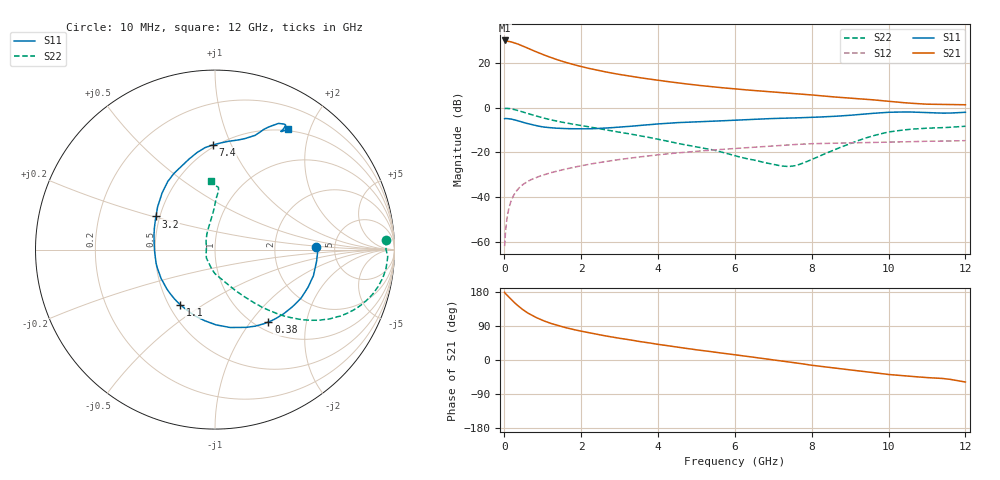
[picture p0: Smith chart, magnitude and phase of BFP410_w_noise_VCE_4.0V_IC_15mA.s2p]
! Infineon Technologies  Discrete & RF Semiconductors
! BFP410
! VCE =  4.0 V,  IC =  15 mA
! Common Emitter S-Parameters:  Nov 2015
# GHz  S  MA  R  50
!  f  S11  S21  S12  S22
! GHz  MAG  ANG  MAG  ANG  MAG  ANG  MAG  ANG
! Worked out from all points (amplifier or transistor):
!   243 points, 10 MHz to 12 GHz, reference 50 ohm
!   highest |S21| = 30.0 dB at 10 MHz (marker M1)
!   |S21| within 3 dB of that: start of sweep to 550.7 MHz
!   unconditionally stable (mu >= 1): start of sweep to 25.22 MHz; 2.115 GHz to end of sweep
!   at 240 MHz: K = 0.28, MSG = 34.2 dB, |S12| = -39.4 dB
!   at 1.84 GHz: K = 0.94, MSG = 22.8 dB, |S12| = -26.6 dB
!   at 12 GHz: K = 1.03, MAG = 7.0 dB, |S12| = -14.8 dB
!   lowest NFmin = 1.50 dB at 900 MHz
!   S11 on the Smith chart (normalised r, x): 10 MHz: 3.59, +0.16; 380 MHz: 1.14, -1.23; 1.1 GHz: 0.57, -0.40; 3.2 GHz: 0.48, +0.21; 7.4 GHz: 0.48, +0.86; 12 GHz: 0.48, +1.68
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0.01  0.5653 1.5  31.72 178.6  0.0008 71.7  0.9519 3.3
0.02  0.5719 -1.8  31.26 176.7  0.0011 58.5  0.9532 0.0
0.05  0.5698 -6.5  30.77 173.4  0.0023 74.5  0.9633 -2.4
0.1  0.5674 -14.8  30.44 168.4  0.0047 76.2  0.9588 -6.3
0.2  0.5506 -29.4  29.16 158.0  0.0091 74.3  0.9311 -12.9
0.3  0.5233 -43.2  27.44 148.2  0.013 71.2  0.8891 -18.7
0.38  0.5011 -53.6  25.87 141.3  0.0158 68.4  0.8506 -22.7
0.5  0.467 -68.1  23.48 131.7  0.0195 65.0  0.7912 -27.9
0.6  0.4422 -79.0  21.54 124.7  0.0221 62.9  0.7441 -31.3
0.7  0.4194 -89.2  19.79 118.9  0.0246 61.2  0.7002 -34.2
0.9  0.3856 -107.0  16.75 108.8  0.0289 58.8  0.6252 -38.7
1.1  0.3634 -122.3  14.32 100.7  0.0328 57.4  0.5636 -42.1
1.5  0.3416 -146.5  10.91 88.1  0.0404 55.5  0.4737 -47.1
2.02  0.3356 -170.4  8.216 75.7  0.0504 53.2  0.3958 -51.8
2.6  0.3483 167.6  6.378 64.2  0.0615 49.7  0.3237 -56.8
3.2  0.3774 150.7  5.175 54.3  0.0729 45.7  0.2644 -62.3
4.1  0.4372 131.3  3.979 40.0  0.0899 39.1  0.1891 -72.9
6.1  0.5285 105.0  2.576 12.5  0.1236 22.9  0.08 -116.6
7.4  0.5834 91.1  2.108 -5.1  0.147 11.3  0.0482 177.7
8.2  0.6156 80.4  1.852 -16.3  0.1574 2.6  0.0823 125.4
10.2  0.7929 62.1  1.336 -39.9  0.1698 -13.6  0.3013 87.8
12  0.7861 58.7  1.159 -58.1  0.1828 -29.3  0.3832 93.6
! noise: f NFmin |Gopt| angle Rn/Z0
0.45  1.52  0.06  -134  0.19
0.9  1.5  0.07  -151  0.16
1.8  1.61  0.12  -142  0.16
2.4  1.64  0.18  -123  0.21
5.5  2.49  0.39  -106  0.35
10  3.6  0.69  -47  2.16
